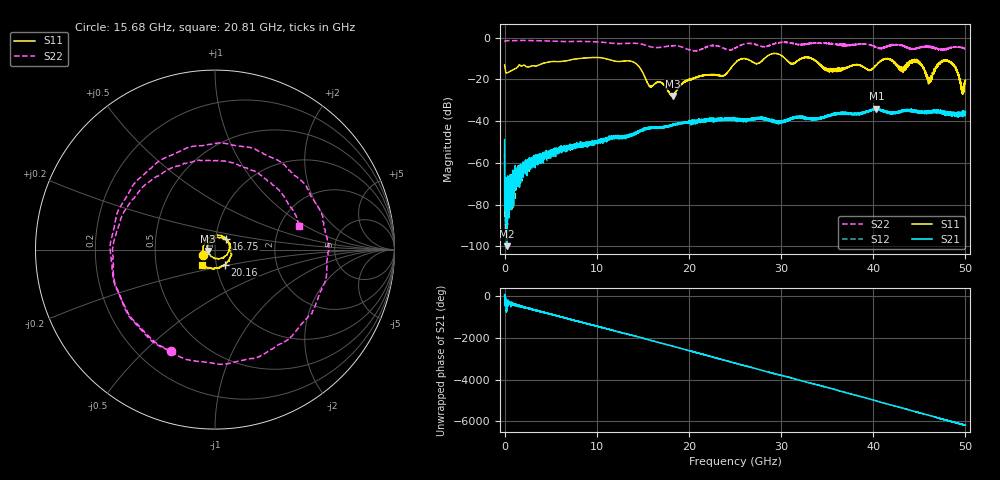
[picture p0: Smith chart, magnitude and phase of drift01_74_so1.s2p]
!Created with skrf (http://scikit-rf.org).
# Hz S RI R 50.0
!freq ReS11 ImS11 ReS21 ImS21 ReS12 ImS12 ReS22 ImS22
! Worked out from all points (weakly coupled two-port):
!   10001 points, 300 kHz to 50 GHz, reference 50 ohm
!   highest |S21| = -34.02 dB at 40.34 GHz (marker M1); lowest = -99.9 dB at 245.3 MHz (marker M2)
!   lowest |S11| = -28.0 dB at 18.26 GHz (marker M3), VSWR 1.08, Z = 46.2 - j0.738 ohm
!   |S11| at or under -10 dB: start of sweep to 8.036 GHz; 10.89 GHz to 25.86 GHz (14.97 GHz wide, 81.4 % of centre); 41.54 GHz to end of sweep (the widest 3 of 13)
!   |S22| runs from -6.4 to -1.4 dB; largest |S21 - S12| = 0.0043
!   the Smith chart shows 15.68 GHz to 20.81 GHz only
!   S11 on the Smith chart (normalised r, x): 15.68 GHz: 0.88, -0.05; 16.75 GHz: 1.12, +0.13; 20.16 GHz: 1.10, -0.19; 20.81 GHz: 0.85, -0.15
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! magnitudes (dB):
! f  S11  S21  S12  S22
! 300 kHz  -13.1  -48.9  -55.2  -2.1
! 245.3 MHz  -16.9  -99.9  -77.3  -1.4
! 3.3 GHz  -13.6  -58.0  -58.7  -1.5
! 8.335 GHz  -9.9  -50.2  -50.7  -1.8
! 13.89 GHz  -11.5  -46.6  -46.7  -2.7
! 15.68 GHz  -23.0  -43.1  -43.1  -4.2
! 16.67 GHz  -21.2  -43.2  -43.2  -4.8
! 16.75 GHz  -21.3  -43.0  -43.0  -4.7
! 18.26 GHz  -28.0  -41.7  -41.7  -3.9
! 20.16 GHz  -19.9  -39.9  -40.6  -6.0
! 20.81 GHz  -19.0  -40.2  -39.9  -6.3
! 25 GHz  -12.2  -39.2  -39.4  -5.0
! 33.34 GHz  -10.1  -38.7  -38.9  -2.7
! 35.31 GHz  -15.2  -37.4  -37.4  -2.7
! 40.34 GHz  -13.0  -34.0  -34.5  -4.6
! 41.67 GHz  -10.1  -35.4  -36.1  -4.0
! 43.07 GHz  -15.8  -35.3  -35.2  -3.8
! 44.81 GHz  -11.1  -35.5  -35.7  -5.1
! 46.11 GHz  -20.5  -35.6  -35.0  -4.3
! 48.05 GHz  -11.2  -37.0  -36.4  -5.2
! 49.64 GHz  -24.0  -36.9  -36.2  -4.7
! 50 GHz  -20.7  -35.7  -36.5  -5.2
